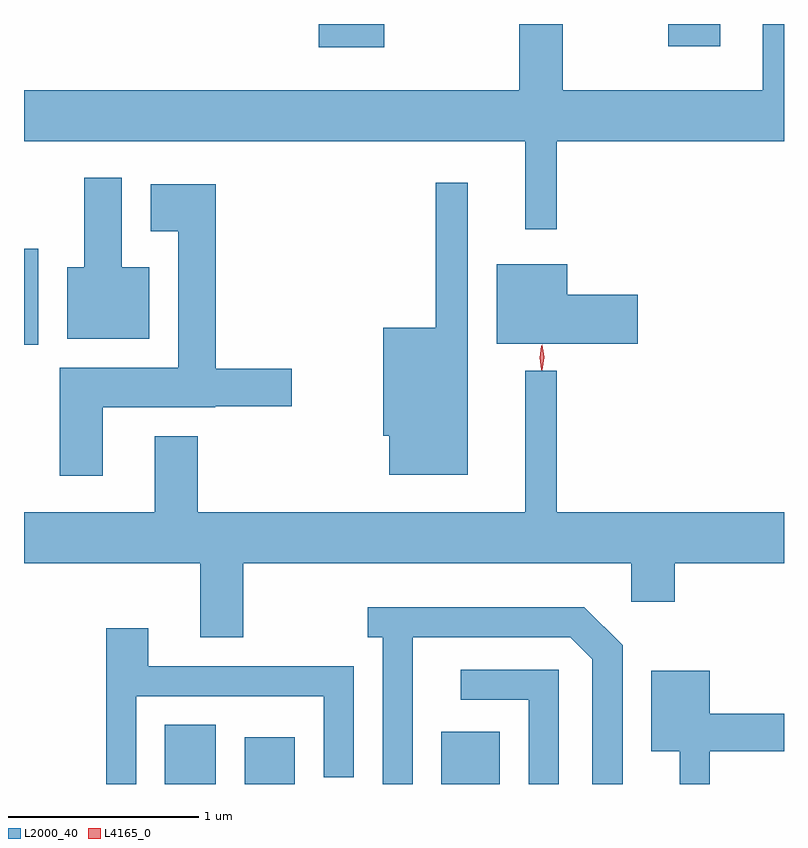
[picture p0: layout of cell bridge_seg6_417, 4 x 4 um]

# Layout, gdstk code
import gdstk
lib = gdstk.Library(unit=1e-6, precision=1e-09)
def R(c, l, rs):  # rectangles x0, y0, x1, y1
    for r in rs: c.add(gdstk.rectangle(r[:2], r[2:], *l))
def P(c, l, *ps):  # polygons
    for p in ps: c.add(gdstk.Polygon(p, *l))
L2000_40 = (2000, 40)
L4165_0 = (4165, 0)

bridge_seg6_417 = lib.new_cell('bridge_seg6_417')
R(bridge_seg6_417, L2000_40, [(828.316,1615.473,828.584,1615.784), (828.736,1615.473,828.999,1615.719), (829.771,1615.473,830.079,1615.749), (827.574,1617.786,827.649,1618.289), (829.126,1619.351,829.469,1619.473), (830.966,1619.356,831.238,1619.473)])
P(bridge_seg6_417, L2000_40, [(830.379,1618.856),(831.574,1618.856),(831.574,1619.473),(831.461,1619.473),(831.461,1619.124),(830.409,1619.124),(830.409,1619.473),(830.181,1619.473),(830.181,1619.124),(827.574,1619.124),(827.574,1618.856),(830.211,1618.856),(830.211,1618.393),(830.379,1618.393)],
  [(828.234,1618.194),(828.089,1618.194),(828.089,1618.664),(827.891,1618.664),(827.891,1618.194),(827.801,1618.194),(827.801,1617.816),(828.234,1617.816)],
  [(829.909,1618.638),(829.741,1618.638),(829.741,1617.874),(829.466,1617.874),(829.466,1617.306),(829.496,1617.306),(829.496,1617.101),(829.909,1617.101)],
  [(827.989,1617.456),(828.58,1617.456),(828.58,1617.461),(828.984,1617.461),(828.984,1617.659),(828.584,1617.659),(828.584,1618.629),(828.241,1618.629),(828.241,1618.381),(828.386,1618.381),(828.386,1617.664),(827.761,1617.664),(827.761,1617.096),(827.989,1617.096)],
  [(830.804,1618.049),(830.434,1618.049),(830.434,1618.209),(830.061,1618.209),(830.061,1617.791),(830.804,1617.791)],
  [(828.729,1616.636),(830.771,1616.636),(830.771,1616.431),(830.999,1616.431),(830.999,1616.636),(831.574,1616.636),(831.574,1616.904),(830.379,1616.904),(830.379,1617.648),(830.211,1617.648),(830.211,1616.904),(828.489,1616.904),(828.489,1617.304),(828.261,1617.304),(828.261,1616.904),(827.574,1616.904),(827.574,1616.636),(828.501,1616.636),(828.501,1616.246),(828.729,1616.246)],
  [(829.619,1616.246),(830.449,1616.246),(830.566,1616.129),(830.566,1615.473),(830.724,1615.473),(830.724,1616.202),(830.522,1616.404),(829.383,1616.404),(829.383,1616.246),(829.461,1616.246),(829.461,1615.473),(829.619,1615.473)],
  [(828.164,1615.936),(829.151,1615.936),(829.151,1615.508),(829.309,1615.508),(829.309,1616.094),(828.229,1616.094),(828.229,1616.294),(828.006,1616.294),(828.006,1615.473),(828.164,1615.473)],
  [(830.389,1616.074),(829.873,1616.074),(829.873,1615.916),(830.231,1615.916),(830.231,1615.473),(830.389,1615.473)],
  [(831.184,1615.646),(831.574,1615.646),(831.574,1615.844),(831.184,1615.844),(831.184,1616.069),(830.876,1616.069),(830.876,1615.646),(831.026,1615.646),(831.026,1615.473),(831.184,1615.473)])
P(bridge_seg6_417, L4165_0, [(830.3,1617.65),(830.3,1617.65),(830.291,1617.718),(830.301,1617.785),(830.302,1617.786),(830.302,1617.785),(830.311,1617.718),(830.301,1617.65)],
  [(830.298,1617.653),(830.297,1617.654),(830.288,1617.716),(830.297,1617.78),(830.298,1617.78),(830.298,1617.78),(830.308,1617.716),(830.298,1617.654)])

lib.write_gds('bridge_seg6_417.gds')
